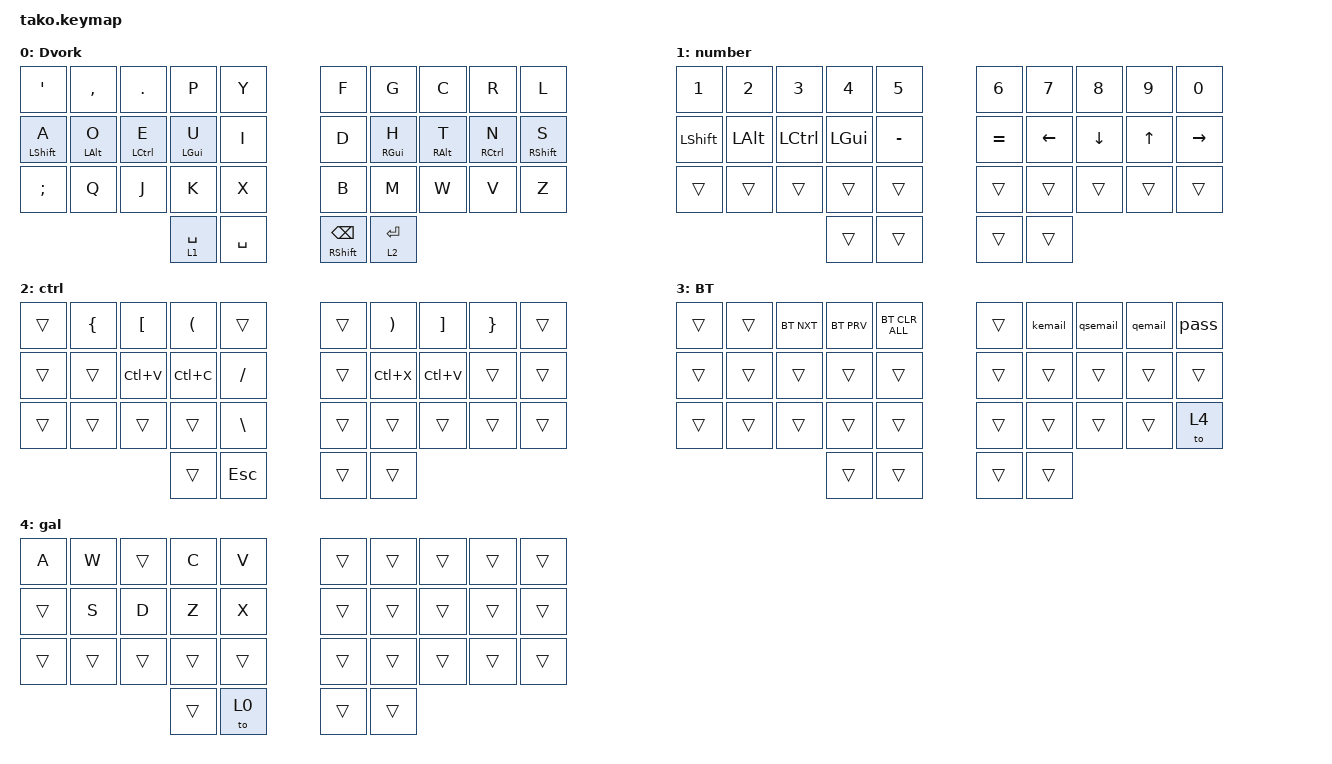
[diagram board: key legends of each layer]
#include <behaviors.dtsi>
#include <dt-bindings/zmk/bt.h>
#include <dt-bindings/zmk/keys.h>

&mt {
    tapping-term-ms = <150>;
    flavor = "tap-preferred";
};

/ {
    combos {
        compatible = "zmk,combos";

        esccc {
            bindings = <&kp ESC>;
            key-positions = <1 2>;
            layers = <0 1 2 3>;
            timeout-ms = <0>;
        };

        tabbbb {
            bindings = <&kp TAB>;
            key-positions = <2 3>;
            layers = <0 1 2 3>;
        };

        baaaa {
            bindings = <&kp BACKSPACE>;
            key-positions = <7 8>;
            layers = <0 1 2 3>;
        };

        enter {
            bindings = <&kp ENTER>;
            key-positions = <6 7>;
            layers = <0 2 1 3>;
        };

        LB {
            bindings = <&kp LBRC>;
            key-positions = <2 3>;
            layers = <2>;
        };

        RB {
            bindings = <&kp RBRC>;
            key-positions = <6 7>;
        };
    };

    macros {
        kemail: kemail {
            compatible = "zmk,behavior-macro";
            #binding-cells = <0>;
            bindings = <&none &kp K &kp AT &kp O &kp M &kp O &kp U &kp T &kp H &kp DOT &kp N &kp E &kp T>;
            label = "KEMAIL";
        };

        qsemail: qsemail {
            compatible = "zmk,behavior-macro";
            #binding-cells = <0>;
            bindings = <&none &kp Q &kp A &kp Z &kp X &kp C &kp D &kp E &kp W &kp S &kp N6 &kp N7 &kp N1 &kp N2 &kp N3 &kp AT &kp G &kp M &kp A &kp I &kp L &kp DOT &kp C &kp O &kp M>;
            label = "QSEMAIL";
        };

        qemail: qemail {
            compatible = "zmk,behavior-macro";
            #binding-cells = <0>;
            bindings = <&none &kp Q &kp A &kp Z &kp X &kp C &kp D &kp E &kp W &kp S &kp F &kp G &kp H &kp J &kp K &kp L &kp N6 &kp N7 &kp AT &kp G &kp M &kp A &kp I &kp L &kp DOT &kp C &kp O &kp M>;
            label = "QEMAIL";
        };

        pass: pass {
            compatible = "zmk,behavior-macro";
            #binding-cells = <0>;
            bindings = <&none &kp LS(K) &kp E &kp N &kp N &kp Y &kp LS(L) &kp N0 &kp LS(V) &kp LS(E) &kp LS(R) &kp DOT &kp LS(T) &kp W &kp LS(T)>;
            label = "PASS";
        };
    };

    keymap {
        compatible = "zmk,keymap";

        Dvork {
            bindings = <
&kp APOS          &kp COMMA       &kp DOT      &kp P           &kp Y        &kp F                 &kp G            &kp C            &kp R        &kp L
&mt LEFT_SHIFT A  &mt LEFT_ALT O  &mt LCTRL E  &mt LEFT_GUI U  &kp I        &kp D                 &mt RIGHT_GUI H  &mt RIGHT_ALT T  &mt RCTRL N  &mt RIGHT_SHIFT S
&kp SEMI          &kp Q           &kp J        &kp K           &kp X        &kp B                 &kp M            &kp W            &kp V        &kp Z
                                               &lt 1 SPACE     &kp SPACE    &mt RIGHT_SHIFT BSPC  &lt 2 ENTER
            >;
        };

        number {
            bindings = <
&kp NUMBER_1    &kp NUMBER_2  &kp NUMBER_3  &kp NUMBER_4  &kp N5       &kp NUMBER_6  &kp N7          &kp N8          &kp N9        &kp N0
&kp LEFT_SHIFT  &kp LEFT_ALT  &kp LCTRL     &kp LEFT_GUI  &kp MINUS    &kp EQUAL     &kp LEFT_ARROW  &kp DOWN_ARROW  &kp UP_ARROW  &kp RIGHT_ARROW
&trans          &trans        &trans        &trans        &trans       &trans        &trans          &trans          &trans        &trans
                                            &trans        &trans       &trans        &trans
            >;
        };

        ctrl {
            bindings = <
&trans  &kp LBRC  &kp LBKT   &kp LPAR   &trans       &trans  &kp RPAR   &kp RBKT   &kp RBRC  &trans
&trans  &trans    &kp LC(V)  &kp LC(C)  &kp SLASH    &trans  &kp LC(X)  &kp LC(V)  &trans    &trans
&trans  &trans    &trans     &trans     &kp BSLH     &trans  &trans     &trans     &trans    &trans
                             &trans     &kp ESC      &trans  &trans
            >;
        };

        BT {
            bindings = <
&trans  &trans  &bt BT_NXT  &bt BT_PRV  &bt BT_CLR_ALL    &trans  &kemail  &qsemail  &qemail  &pass
&trans  &trans  &trans      &trans      &trans            &trans  &trans   &trans    &trans   &trans
&trans  &trans  &trans      &trans      &trans            &trans  &trans   &trans    &trans   &to 4
                            &trans      &trans            &trans  &trans
            >;
        };

        gal {
            bindings = <
&kp A   &kp W   &trans  &kp C   &kp V     &trans  &trans  &trans  &trans  &trans
&trans  &kp S   &kp D   &kp Z   &kp X     &trans  &trans  &trans  &trans  &trans
&trans  &trans  &trans  &trans  &trans    &trans  &trans  &trans  &trans  &trans
                        &trans  &to 0     &trans  &trans
            >;
        };
    };

    conditional_layers {
        compatible = "zmk,conditional-layers";

        lav3 {
            if-layers = <1 2>;
            then-layer = <3>;
        };
    };
};
